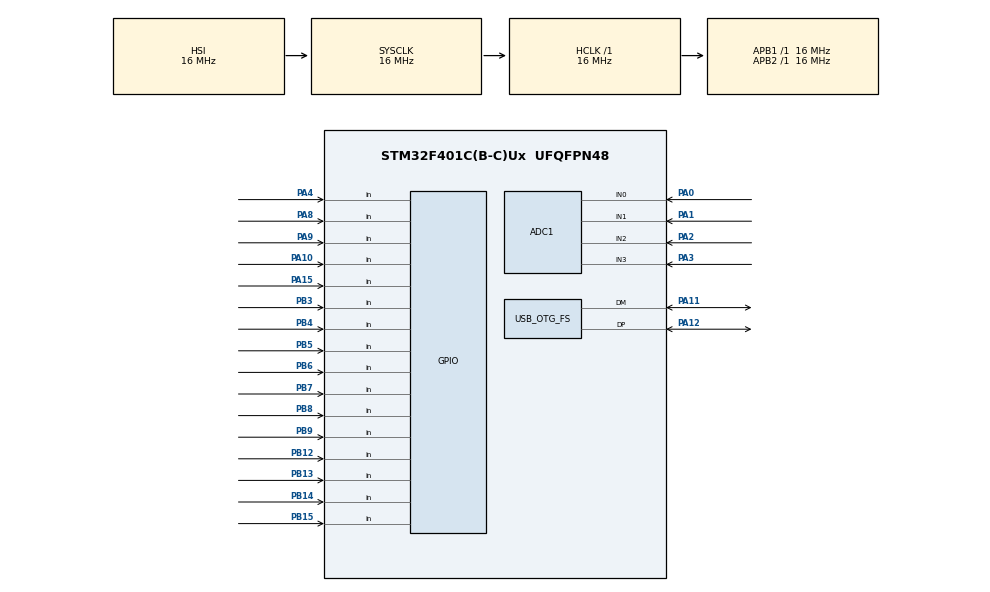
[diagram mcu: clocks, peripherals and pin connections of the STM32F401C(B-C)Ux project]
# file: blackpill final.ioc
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ADC1.Channel-0\#ChannelRegularConversion=ADC_CHANNEL_0
ADC1.Channel-1\#ChannelRegularConversion=ADC_CHANNEL_1
ADC1.Channel-2\#ChannelRegularConversion=ADC_CHANNEL_2
ADC1.Channel-3\#ChannelRegularConversion=ADC_CHANNEL_3
ADC1.ContinuousConvMode=ENABLE
ADC1.DMAContinuousRequests=ENABLE
ADC1.EOCSelection=ADC_EOC_SEQ_CONV
ADC1.NbrOfConversion=4
ADC1.NbrOfConversionFlag=1
ADC1.Rank-0\#ChannelRegularConversion=1
ADC1.Rank-1\#ChannelRegularConversion=2
ADC1.Rank-2\#ChannelRegularConversion=3
ADC1.Rank-3\#ChannelRegularConversion=4
ADC1.SamplingTime-0\#ChannelRegularConversion=ADC_SAMPLETIME_480CYCLES
ADC1.SamplingTime-1\#ChannelRegularConversion=ADC_SAMPLETIME_480CYCLES
ADC1.SamplingTime-2\#ChannelRegularConversion=ADC_SAMPLETIME_480CYCLES
ADC1.SamplingTime-3\#ChannelRegularConversion=ADC_SAMPLETIME_480CYCLES
ADC1.ScanConvMode=ENABLE
ADC1.master=1
Dma.ADC1.0.Direction=DMA_PERIPH_TO_MEMORY
Dma.ADC1.0.FIFOMode=DMA_FIFOMODE_DISABLE
Dma.ADC1.0.Instance=DMA2_Stream0
Dma.ADC1.0.MemDataAlignment=DMA_MDATAALIGN_HALFWORD
Dma.ADC1.0.MemInc=DMA_MINC_ENABLE
Dma.ADC1.0.Mode=DMA_CIRCULAR
Dma.ADC1.0.PeriphDataAlignment=DMA_PDATAALIGN_HALFWORD
Dma.ADC1.0.PeriphInc=DMA_PINC_DISABLE
Dma.ADC1.0.Priority=DMA_PRIORITY_HIGH
Dma.Request0=ADC1
Mcu.Family=STM32F4
Mcu.Name=STM32F401C(B-C)Ux
Mcu.Package=UFQFPN48
NVIC.ADC_IRQn=true\:0\:0\:false\:false\:true\:true\:true\:true
NVIC.DMA2_Stream0_IRQn=true\:0\:0\:false\:false\:true\:false\:true\:true
NVIC.OTG_FS_IRQn=true\:0\:0\:false\:false\:true\:true\:true\:true
NVIC.PriorityGroup=NVIC_PRIORITYGROUP_4
PA0-WKUP.Signal=ADCx_IN0
PA1.Signal=ADCx_IN1
PA10.Signal=GPIO_Input
PA11.Mode=Device_Only
PA11.Signal=USB_OTG_FS_DM
PA12.Mode=Device_Only
PA12.Signal=USB_OTG_FS_DP
PA13.Mode=Serial_Wire
PA13.Signal=SYS_JTMS-SWDIO
PA14.Mode=Serial_Wire
PA14.Signal=SYS_JTCK-SWCLK
PA15.Signal=GPIO_Input
PA2.Signal=ADCx_IN2
PA3.Signal=ADCx_IN3
PA4.Signal=GPIO_Input
PA8.Signal=GPIO_Input
PA9.Signal=GPIO_Input
PB12.Signal=GPIO_Input
PB13.Signal=GPIO_Input
PB14.Signal=GPIO_Input
PB15.Signal=GPIO_Input
PB3.Signal=GPIO_Input
PB4.Signal=GPIO_Input
PB5.Signal=GPIO_Input
PB6.Signal=GPIO_Input
PB7.Signal=GPIO_Input
PB8.Signal=GPIO_Input
PB9.Signal=GPIO_Input
PH0\ -\ OSC_IN.Mode=HSE-External-Oscillator
PH0\ -\ OSC_IN.Signal=RCC_OSC_IN
PH1\ -\ OSC_OUT.Mode=HSE-External-Oscillator
PH1\ -\ OSC_OUT.Signal=RCC_OSC_OUT
ProjectManager.HeapSize=0x200
ProjectManager.StackSize=0x400
ProjectManager.TargetToolchain=STM32CubeIDE
RCC.48MHZClocksFreq_Value=48000000
RCC.AHBFreq_Value=16000000
RCC.APB1Freq_Value=16000000
RCC.APB2Freq_Value=16000000
RCC.CortexFreq_Value=16000000
RCC.HSE_VALUE=25000000
RCC.HSI_VALUE=16000000
RCC.LSE_VALUE=32768
RCC.PLLM=15
RCC.PLLN=144
RCC.PLLQ=5
RCC.SYSCLKFreq_VALUE=16000000
RCC.VCOOutputFreq_Value=240000000
SH.ADCx_IN0.0=ADC1_IN0,IN0
SH.ADCx_IN1.0=ADC1_IN1,IN1
SH.ADCx_IN2.0=ADC1_IN2,IN2
SH.ADCx_IN3.0=ADC1_IN3,IN3
USB_DEVICE.CLASS_NAME_FS=HID
USB_DEVICE.MANUFACTURER_STRING=Pie1722
USB_DEVICE.PRODUCT_STRING_HID_FS=BlackPill
USB_DEVICE.VirtualMode=Hid
USB_DEVICE.VirtualModeFS=Hid_FS
USB_OTG_FS.VirtualMode=Device_Only
VP_USB_DEVICE_VS_USB_DEVICE_HID_FS.Mode=HID_FS
board=custom

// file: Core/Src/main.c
/* USER CODE BEGIN Header */
/**
  ******************************************************************************
  * @file           : main.c
  * @brief          : Main program body
  ******************************************************************************
  * @attention
  *
  * Copyright (c) 2025 STMicroelectronics.
  * All rights reserved.
  *
  * This software is licensed under terms that can be found in the LICENSE file
  * in the root directory of this software component.
  * If no LICENSE file comes with this software, it is provided AS-IS.
  *
  ******************************************************************************
  */
/* USER CODE END Header */
#include "main.h"
#include "usb_device.h"

/* USER CODE BEGIN Includes */
#include "usbd_hid.h"
#include "stm32f4xx_hal.h"
#include "stm32f4xx_hal_adc.h"
extern USBD_HandleTypeDef hUsbDeviceFS;
/* USER CODE END Includes */

/* USER CODE BEGIN PTD */
typedef struct __attribute__((packed)) {
    uint16_t buttons;
    uint8_t hat;
    int16_t x, y, rx, ry;
} joystickReport;
/* USER CODE END PTD */

/* USER CODE BEGIN PD */
ADC_HandleTypeDef hadc1;
DMA_HandleTypeDef hdma_adc1;
/* USER CODE END PD */

void SystemClock_Config(void);
static void MX_GPIO_Init(void);
static void MX_DMA_Init(void);
static void MX_ADC1_Init(void);

/* USER CODE BEGIN PFP */

volatile uint16_t adcVal[4] = {0};
volatile uint8_t isADCFinished = 0;

void HAL_ADC_ConvCpltCallback(ADC_HandleTypeDef *hadc)
{
    if (hadc->Instance == ADC1) {
        isADCFinished = 1;
    }
}

/* USER CODE END PFP */

/* USER CODE BEGIN 0 */
uint8_t get_hat_value(void)
{
	uint8_t up    = !HAL_GPIO_ReadPin(GPIOB, GPIO_PIN_9);
	uint8_t down  = !HAL_GPIO_ReadPin(GPIOB, GPIO_PIN_3);
	uint8_t left  = !HAL_GPIO_ReadPin(GPIOB, GPIO_PIN_4);
	uint8_t right = !HAL_GPIO_ReadPin(GPIOA, GPIO_PIN_15);

    if (up)            return 0;  // Up
    if (up && right)   return 1;  // Up-Right
    if (right)         return 2;  // Right
    if (right && down) return 3;  // Down-Right
    if (down)          return 4;  // Down
    if (down && left)  return 5;  // Down-Left
    if (left)          return 6;  // Left
    if (left && up)    return 7;  // Up-Left

    return 0x0F;  // Neutral
}

void send_gamepad_report(void)
{
    joystickReport report = {0};

    // ---- Buttons: Read 12 GPIOs (example mapping) ----
    report.buttons |= !HAL_GPIO_ReadPin(GPIOB, GPIO_PIN_12) ? (1 << 2) : 0;		//X
    report.buttons |= !HAL_GPIO_ReadPin(GPIOB, GPIO_PIN_13) ? (1 << 3) : 0;		//Y
    report.buttons |= !HAL_GPIO_ReadPin(GPIOB, GPIO_PIN_14) ? (1 << 0) : 0;   	//A
    report.buttons |= !HAL_GPIO_ReadPin(GPIOB, GPIO_PIN_15) ? (1 << 1) : 0;		//B
    report.buttons |= !HAL_GPIO_ReadPin(GPIOA, GPIO_PIN_8)  ? (1 << 4) : 0;		// lt1
    report.buttons |= !HAL_GPIO_ReadPin(GPIOA, GPIO_PIN_9)  ? (1 << 6) : 0;		// lt2
    report.buttons |= !HAL_GPIO_ReadPin(GPIOA, GPIO_PIN_10) ? (1 << 5) : 0;		//rt1
    report.buttons |= !HAL_GPIO_ReadPin(GPIOB, GPIO_PIN_5)  ? (1 << 8) : 0;		// Enter
    report.buttons |= !HAL_GPIO_ReadPin(GPIOB, GPIO_PIN_6)  ? (1 << 10) : 0;	// lj / scl
    report.buttons |= !HAL_GPIO_ReadPin(GPIOB, GPIO_PIN_7)  ? (1 << 9) : 0;		// rj / sda
    report.buttons |= !HAL_GPIO_ReadPin(GPIOB, GPIO_PIN_8)  ? (1 << 7) : 0;		// Back
    report.buttons |= !HAL_GPIO_ReadPin(GPIOA, GPIO_PIN_4)  ? (1 << 11) : 0;	// rt2

    // ---- Hat switch ----
    report.hat = get_hat_value();

    // ---- Axes: ADC static data ----
    report.x  = adcVal[0];
    report.y  = adcVal[1];
    report.rx = adcVal[2];
    report.ry = adcVal[3];

    // ---- Send 7-byte report ----
    USBD_HID_SendReport(&hUsbDeviceFS, (uint8_t*)&report, sizeof(report));
}
/* USER CODE END 0 */

int main(void)
{

  /* MCU Configuration--------------------------------------------------------*/

  /* Reset of all peripherals, Initializes the Flash interface and the Systick. */
  HAL_Init();

  /* Configure the system clock */
  SystemClock_Config();

  /* Initialize all configured peripherals */
  MX_GPIO_Init();
  MX_DMA_Init();
  MX_ADC1_Init();
  MX_USB_DEVICE_Init();

  /* USER CODE BEGIN 2 */
  HAL_ADC_Start_DMA(&hadc1, (uint32_t*)adcVal, 4);
  /* USER CODE END 2 */

  /* Infinite loop */
  while (1)
  {
      send_gamepad_report();
  }
}

void SystemClock_Config(void)
{
  RCC_OscInitTypeDef RCC_OscInitStruct = {0};
  RCC_ClkInitTypeDef RCC_ClkInitStruct = {0};

  /** Configure the main internal regulator output voltage
  */
  __HAL_RCC_PWR_CLK_ENABLE();
  __HAL_PWR_VOLTAGESCALING_CONFIG(PWR_REGULATOR_VOLTAGE_SCALE2);

  /** Initializes the RCC Oscillators according to the specified parameters
  * in the RCC_OscInitTypeDef structure.
  */
  RCC_OscInitStruct.OscillatorType = RCC_OSCILLATORTYPE_HSI|RCC_OSCILLATORTYPE_HSE;
  RCC_OscInitStruct.HSEState = RCC_HSE_ON;
  RCC_OscInitStruct.HSIState = RCC_HSI_ON;
  RCC_OscInitStruct.HSICalibrationValue = RCC_HSICALIBRATION_DEFAULT;
  RCC_OscInitStruct.PLL.PLLState = RCC_PLL_ON;
  RCC_OscInitStruct.PLL.PLLSource = RCC_PLLSOURCE_HSE;
  RCC_OscInitStruct.PLL.PLLM = 15;
  RCC_OscInitStruct.PLL.PLLN = 144;
  RCC_OscInitStruct.PLL.PLLP = RCC_PLLP_DIV2;
  RCC_OscInitStruct.PLL.PLLQ = 5;
  if (HAL_RCC_OscConfig(&RCC_OscInitStruct) != HAL_OK)
  {
    Error_Handler();
  }

  /** Initializes the CPU, AHB and APB buses clocks
  */
  RCC_ClkInitStruct.ClockType = RCC_CLOCKTYPE_HCLK|RCC_CLOCKTYPE_SYSCLK
                              |RCC_CLOCKTYPE_PCLK1|RCC_CLOCKTYPE_PCLK2;
  RCC_ClkInitStruct.SYSCLKSource = RCC_SYSCLKSOURCE_HSI;
  RCC_ClkInitStruct.AHBCLKDivider = RCC_SYSCLK_DIV1;
  RCC_ClkInitStruct.APB1CLKDivider = RCC_HCLK_DIV1;
  RCC_ClkInitStruct.APB2CLKDivider = RCC_HCLK_DIV1;

  if (HAL_RCC_ClockConfig(&RCC_ClkInitStruct, FLASH_LATENCY_0) != HAL_OK)
  {
    Error_Handler();
  }
}

static void MX_ADC1_Init(void)
{

  ADC_ChannelConfTypeDef sConfig = {0};

  /** Configure the global features of the ADC (Clock, Resolution, Data Alignment and number of conversion)
  */
  hadc1.Instance = ADC1;
  hadc1.Init.ClockPrescaler = ADC_CLOCK_SYNC_PCLK_DIV2;
  hadc1.Init.Resolution = ADC_RESOLUTION_12B;
  hadc1.Init.ScanConvMode = ENABLE;
  hadc1.Init.ContinuousConvMode = ENABLE;
  hadc1.Init.DiscontinuousConvMode = DISABLE;
  hadc1.Init.ExternalTrigConvEdge = ADC_EXTERNALTRIGCONVEDGE_NONE;
  hadc1.Init.ExternalTrigConv = ADC_SOFTWARE_START;
  hadc1.Init.DataAlign = ADC_DATAALIGN_RIGHT;
  hadc1.Init.NbrOfConversion = 4;
  hadc1.Init.DMAContinuousRequests = ENABLE;
  hadc1.Init.EOCSelection = ADC_EOC_SEQ_CONV;
  if (HAL_ADC_Init(&hadc1) != HAL_OK)
  {
    Error_Handler();
  }

  /** Configure for the selected ADC regular channel its corresponding rank in the sequencer and its sample time.
  */
  sConfig.Channel = ADC_CHANNEL_0;
  sConfig.Rank = 1;
  sConfig.SamplingTime = ADC_SAMPLETIME_480CYCLES;
  if (HAL_ADC_ConfigChannel(&hadc1, &sConfig) != HAL_OK)
  {
    Error_Handler();
  }

  /** Configure for the selected ADC regular channel its corresponding rank in the sequencer and its sample time.
  */
  sConfig.Channel = ADC_CHANNEL_1;
  sConfig.Rank = 2;
  if (HAL_ADC_ConfigChannel(&hadc1, &sConfig) != HAL_OK)
  {
    Error_Handler();
  }

  /** Configure for the selected ADC regular channel its corresponding rank in the sequencer and its sample time.
  */
  sConfig.Channel = ADC_CHANNEL_2;
  sConfig.Rank = 3;
  if (HAL_ADC_ConfigChannel(&hadc1, &sConfig) != HAL_OK)
  {
    Error_Handler();
  }

  /** Configure for the selected ADC regular channel its corresponding rank in the sequencer and its sample time.
  */
  sConfig.Channel = ADC_CHANNEL_3;
  sConfig.Rank = 4;
  if (HAL_ADC_ConfigChannel(&hadc1, &sConfig) != HAL_OK)
  {
    Error_Handler();
  }

}

static void MX_DMA_Init(void)
{

  /* DMA controller clock enable */
  __HAL_RCC_DMA2_CLK_ENABLE();

  /* DMA interrupt init */
  /* DMA2_Stream0_IRQn interrupt configuration */
  HAL_NVIC_SetPriority(DMA2_Stream0_IRQn, 0, 0);
  HAL_NVIC_EnableIRQ(DMA2_Stream0_IRQn);

}

static void MX_GPIO_Init(void)
{
  GPIO_InitTypeDef GPIO_InitStruct = {0};

  /* GPIO Ports Clock Enable */
  __HAL_RCC_GPIOH_CLK_ENABLE();
  __HAL_RCC_GPIOA_CLK_ENABLE();
  __HAL_RCC_GPIOB_CLK_ENABLE();

  /*Configure GPIO pins : PA4 PA8 PA9 PA10
                           PA15 */
  GPIO_InitStruct.Pin = GPIO_PIN_4|GPIO_PIN_8|GPIO_PIN_9|GPIO_PIN_10
                          |GPIO_PIN_15;
  GPIO_InitStruct.Mode = GPIO_MODE_INPUT;
  GPIO_InitStruct.Pull = GPIO_PULLUP;
  HAL_GPIO_Init(GPIOA, &GPIO_InitStruct);

  /*Configure GPIO pins : PB12 PB13 PB14 PB15
                           PB3 PB4 PB5 PB6
                           PB7 PB8 PB9 */
  GPIO_InitStruct.Pin = GPIO_PIN_12|GPIO_PIN_13|GPIO_PIN_14|GPIO_PIN_15
                          |GPIO_PIN_3|GPIO_PIN_4|GPIO_PIN_5|GPIO_PIN_6
                          |GPIO_PIN_7|GPIO_PIN_8|GPIO_PIN_9;
  GPIO_InitStruct.Mode = GPIO_MODE_INPUT;
  GPIO_InitStruct.Pull = GPIO_PULLUP;
  HAL_GPIO_Init(GPIOB, &GPIO_InitStruct);

}

void Error_Handler(void)
{
  __disable_irq();
  while (1)
  {
  }
}
